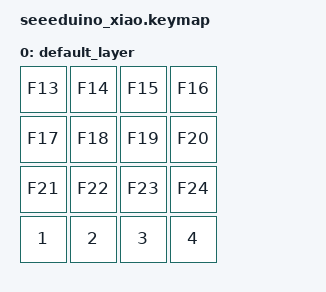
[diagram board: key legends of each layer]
#include <behaviors.dtsi>
#include <dt-bindings/zmk/keys.h>

/ {
    keymap {
        compatible = "zmk,keymap";

        default_layer {
            bindings = <
                &kp F13  &kp F14  &kp F15  &kp F16
                &kp F17  &kp F18  &kp F19  &kp F20
                &kp F21  &kp F22  &kp F23  &kp F24
                &kp N1   &kp N2   &kp N3   &kp N4
            >;
        };
    };
};
